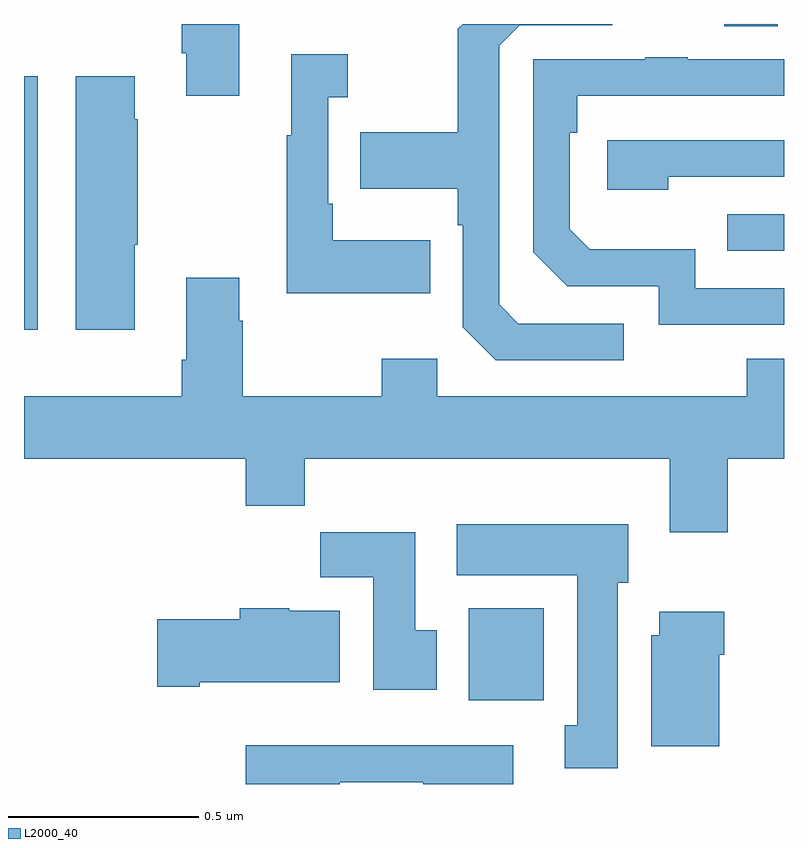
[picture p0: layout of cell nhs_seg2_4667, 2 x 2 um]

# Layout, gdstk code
import gdstk
lib = gdstk.Library(unit=1e-6, precision=1e-09)
def R(c, l, rs):  # rectangles x0, y0, x1, y1
    for r in rs: c.add(gdstk.rectangle(r[:2], r[2:], *l))
def P(c, l, *ps):  # polygons
    for p in ps: c.add(gdstk.Polygon(p, *l))
L2000_40 = (2000, 40)

nhs_seg2_4667 = lib.new_cell('nhs_seg2_4667')
R(nhs_seg2_4667, L2000_40, [(170.171,627.02,170.368,627.262), (169,627.996,169.036,628.663), (170.851,628.203,171,628.299), (170.843,628.794,170.983,628.8)])
P(nhs_seg2_4667, L2000_40, [(170.578,628.011),(170.301,628.011),(170.25,628.062),(170.25,628.743),(170.304,628.797),(170.548,628.797),(170.548,628.8),(170.155,628.8),(170.142,628.787),(170.142,628.515),(169.885,628.515),(169.885,628.367),(170.142,628.367),(170.142,628.271),(170.154,628.271),(170.154,628.002),(170.241,627.915),(170.578,627.915)],
  [(169.567,628.8),(169.415,628.8),(169.415,628.723),(169.427,628.723),(169.427,628.611),(169.567,628.611)],
  [(170.069,628.231),(169.813,628.231),(169.813,628.327),(169.8,628.327),(169.8,628.607),(169.852,628.607),(169.852,628.72),(169.703,628.72),(169.703,628.507),(169.692,628.507),(169.692,628.091),(170.069,628.091)],
  [(171,628.104),(170.766,628.104),(170.766,628.207),(170.489,628.207),(170.436,628.26),(170.436,628.514),(170.456,628.514),(170.456,628.611),(171,628.611),(171,628.707),(170.747,628.707),(170.747,628.712),(170.635,628.712),(170.635,628.707),(170.34,628.707),(170.34,628.2),(170.43,628.11),(170.67,628.11),(170.67,628.008),(171,628.008)],
  [(169.291,628.219),(169.299,628.219),(169.299,628.55),(169.291,628.55),(169.291,628.663),(169.136,628.663),(169.136,627.996),(169.291,627.996)],
  [(170.696,628.398),(171,628.398),(171,628.494),(170.535,628.494),(170.535,628.364),(170.696,628.364)],
  [(170.852,627.656),(171,627.656),(171,627.919),(170.902,627.919),(170.902,627.82),(170.088,627.82),(170.088,627.919),(169.942,627.919),(169.942,627.82),(169.575,627.82),(169.575,628.019),(169.567,628.019),(169.567,628.132),(169.427,628.132),(169.427,627.916),(169.415,627.916),(169.415,627.82),(169,627.82),(169,627.656),(169.583,627.656),(169.583,627.532),(169.739,627.532),(169.739,627.656),(170.699,627.656),(170.699,627.462),(170.852,627.462)],
  [(170.563,627.33),(170.59,627.33),(170.59,627.484),(170.139,627.484),(170.139,627.35),(170.456,627.35),(170.456,626.954),(170.423,626.954),(170.423,626.841),(170.563,626.841)],
  [(170.086,627.204),(170.029,627.204),(170.029,627.463),(169.78,627.463),(169.78,627.344),(169.919,627.344),(169.919,627.048),(170.086,627.048)],
  [(169.462,627.068),(169.831,627.068),(169.831,627.256),(169.698,627.256),(169.698,627.262),(169.568,627.262),(169.568,627.234),(169.35,627.234),(169.35,627.056),(169.462,627.056)],
  [(170.83,627.14),(170.843,627.14),(170.843,627.253),(170.672,627.253),(170.672,627.192),(170.651,627.192),(170.651,626.9),(170.83,626.9)],
  [(169.831,626.805),(170.051,626.805),(170.051,626.8),(170.287,626.8),(170.287,626.902),(169.583,626.902),(169.583,626.8),(169.831,626.8)])

lib.write_gds('nhs_seg2_4667.gds')
